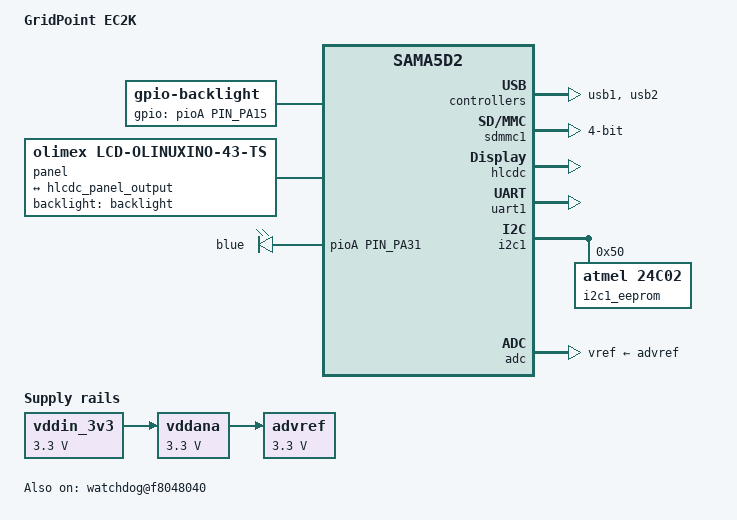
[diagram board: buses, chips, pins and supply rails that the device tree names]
/*
 * gridpoint-ec2k.dts - Device Tree file for EC2000 board
 * based on at91-sama5d27_som1_ek_common.dtsi
 */
/dts-v1/;

#include <dt-bindings/gpio/gpio.h>
#include "sama5d27_som1.dtsi"
/*
#include <dt-bindings/mfd/atmel-flexcom.h>
#include <dt-bindings/pinctrl/at91.h>
#include <dt-bindings/dma/at91.h>
*/

/ {
	model = "GridPoint EC2K";
	compatible = "atmel,sama5d27-som1-ek", "atmel,sama5d27-som1", "atmel,sama5d27", "atmel,sama5d2", "atmel,sama5";

	aliases {
		serial0 = &uart1;
		i2c0	= &i2c1;
	};

	chosen {
		u-boot,dm-pre-reloc;
		/* stdout-path = "serial0:115200n8"; */
		stdout-path = &uart1;
	};

	ahb {

		compatible = "simple-bus";
		#address-cells = <1>;
		#size-cells = <1>;
		ranges;

		nfc_sram: sram@100000 {
			compatible = "mmio-sram";
			no-memory-wc;
			reg = <0x00100000 0x2400>;
			#address-cells = <1>;
			#size-cells = <1>;
			ranges = <0 0x00100000 0x2400>;

		};

		nfc_io: nfc-io@c0000000 {
			compatible = "atmel,sama5d3-nfc-io", "syscon";
			reg = <0xc0000000 0x8000000>;
		};

		usb1: ohci@400000 {
			num-ports = <3>;
			atmel,vbus-gpio = <&pioA 42 0>;
			pinctrl-names = "default";
			pinctrl-0 = <&pinctrl_usb_default>;
			status = "okay";
		};

		usb2: ehci@500000 {
			status = "okay";
		};

		sdmmc0: sdio-host@a0000000 {
			status = "disabled";
		};

		sdmmc1: sdio-host@b0000000 {
			bus-width = <4>;
			pinctrl-names = "default";
			pinctrl-0 = <&pinctrl_sdmmc1_default>;
			status = "okay";
			u-boot,dm-pre-reloc;
		};

		hsmc: hsmc@f8014000 {
			compatible = "atmel,sama5d2-smc", "syscon", "simple-mfd";
			reg = <0xf8014000 0x1000>;
			interrupts = <17 IRQ_TYPE_LEVEL_HIGH 6>;
			clocks = <&pmc PMC_TYPE_PERIPHERAL 17>;
			#address-cells = <1>;
			#size-cells = <1>;
			ranges;
			u-boot,dm-pre-reloc;

			pmecc: ecc-engine@f8014070 {
				compatible = "atmel,sama5d2-pmecc";
				reg = <0xf8014070 0x490>,
				      <0xf8014500 0x200>;
			};
		};

		ebi: ebi@10000000 {
			compatible = "atmel,sama5d3-ebi";
			#address-cells = <2>;
			#size-cells = <1>;
			atmel,smc = <&hsmc>;
			pinctrl-names = "default";
			pinctrl-0 = <&pinctrl_nand_default>;
			reg = <0x10000000 0x10000000
			       0x60000000 0x30000000>;
			ranges = <0x0 0x0 0x10000000 0x10000000
				  0x1 0x0 0x60000000 0x10000000
				  0x2 0x0 0x70000000 0x10000000
				  0x3 0x0 0x80000000 0x10000000>;
			clocks = <&pmc PMC_TYPE_CORE ID_MAIN_RC_OSC>;
			status = "disable"; /* conflicts with sdmmc1 and qspi0 */
			u-boot,dm-pre-reloc;

			nand_controller: nand-controller {
				compatible = "atmel,sama5d3-nand-controller";
				atmel,nfc-sram = <&nfc_sram>;
				atmel,nfc-io = <&nfc_io>;
				ecc-engine = <&pmecc>;
				#address-cells = <2>;
				#size-cells = <1>;
				ranges;
				status = "disable";

				nand@3 {
					reg = <0x3 0x0 0x2>;
					atmel,rb = <0>;
					nand-bus-width = <8>;
					nand-ecc-mode = "hw";
					nand-on-flash-bbt;
					label = "atmel_nand";
/*					u-boot,dm-pre-reloc; */

					partitions {
						compatible = "fixed-partitions";
						#address-cells = <1>;
						#size-cells = <1>;

						rootfs@0 {
							label = "NAND";
							reg = <0x0 0x8000000>;
						};
					};
				};
			};
		};

		apb {
			hlcdc: hlcdc@f0000000 {
				status = "okay";

				hlcdc-display-controller {
					pinctrl-names = "default";
					pinctrl-0 = <&pinctrl_lcd_base &pinctrl_lcd_rgb>;

					port {
						hlcdc_panel_output: endpoint@0 {
							remote-endpoint = <&panel_input>;
						};
					};
				};

				hlcdc_pwm: hlcdc-pwm {
					pinctrl-names = "default";
					pinctrl-0 = <&pinctrl_lcd_pwm>;
				};
			};

			pmc: pmc@f0014000 {
				pmc_fast_restart {
					compatible = "atmel,sama5d2-pmc-fast-startup";
					#address-cells = <1>;
					#size-cells = <0>;

					atmel,wakeup-rtc-timer;

					wkpin: input@0 {
						reg = <0>;
					};

					gmac_wol: input@10 {
						reg = <10>;
						atmel,wakeup-active-high;
					};
				};
			};

			uart1: serial@f8020000 {
				pinctrl-names = "default";
				pinctrl-0 = <&pinctrl_uart1_default>;
				status = "okay";
				u-boot,dm-pre-reloc;
			};

			pwm0: pwm@f802c000 {
				pinctrl-names = "default";
				pinctrl-0 = <&pinctrl_mikrobus1_pwm &pinctrl_mikrobus2_pwm>;
				status = "disabled"; /* Conflict with leds. */
			};

			shdwc@f8048010 {
				atmel,shdwc-debouncer = <976>;
				atmel,wakeup-rtc-timer;

				input@0 {
					reg = <0>;
					atmel,wakeup-type = "low";
				};
			};

			watchdog@f8048040 {
				compatible = "atmel,at91sam9260-wdt";
				status = "okay";
			};

			i2c0: i2c@f8028000 {
				status = "disable";
			};

			i2c1: i2c@fc028000 {
				status = "okay";

				i2c1_eeprom: i2c1_eeprom@50 {
					compatible = "atmel,24c02";
					reg = <0x50>;
				};
			};

			pinctrl@fc038000 {

				pinctrl_qspi1_default: qspi1_default {
					data {
						bias-disabled;
					};
				};

				pinctrl_lcd_base: pinctrl_lcd_base {
					pinmux = <PIN_PC5__LCDVSYNC>,
						<PIN_PC6__LCDHSYNC>,
						<PIN_PC8__LCDDEN>,
						<PIN_PC7__LCDPCK>;
					bias-disable;
				};

				pinctrl_lcd_rgb: pinctrl_lcd_rgb {
					pinmux = <PIN_PB11__LCDDAT0>,
						<PIN_PB12__LCDDAT1>,
						<PIN_PB13__LCDDAT2>,
						<PIN_PB14__LCDDAT3>,
						<PIN_PB15__LCDDAT4>,
						<PIN_PB16__LCDDAT5>,
						<PIN_PB17__LCDDAT6>,
						<PIN_PB18__LCDDAT7>,
						<PIN_PB19__LCDDAT8>,
						<PIN_PB20__LCDDAT9>,
						<PIN_PB21__LCDDAT10>,
						<PIN_PB22__LCDDAT11>,
						<PIN_PB23__LCDDAT12>,
						<PIN_PB24__LCDDAT13>,
						<PIN_PB25__LCDDAT14>,
						<PIN_PB26__LCDDAT15>,
						<PIN_PB27__LCDDAT16>,
						<PIN_PB28__LCDDAT17>,
						<PIN_PB29__LCDDAT18>,
						<PIN_PB30__LCDDAT19>,
						<PIN_PB31__LCDDAT20>,
						<PIN_PC0__LCDDAT21>,
						<PIN_PC1__LCDDAT22>,
						<PIN_PC2__LCDDAT23>;
					bias-disable;
				};

				pinctrl_nand_default: nand_default {
					re_we_data {
						pinmux = <PIN_PA0__D0>,
							<PIN_PA1__D1>,
							<PIN_PA2__D2>,
							<PIN_PA3__D3>,
							<PIN_PA4__D4>,
							<PIN_PA5__D5>,
							<PIN_PA6__D6>,
							<PIN_PA7__D7>,
							<PIN_PA8__NWE_NANDWE>,
							<PIN_PA12__NRD_NANDOE>;
							bias-pull-up;
					};

					ale_cle_rdy_cs {
						pinmux = <PIN_PA10__A21_NANDALE>,
							<PIN_PA11__A22_NANDCLE>,
							<PIN_PD8__NANDRDY>,
							<PIN_PA9__NCS3>;
							bias-pull-up;
					};
				};

				pinctrl_lcd_pwm: pinctrl_lcd_pwm {
					pinmux = <PIN_PC3__LCDPWM>;
					bias-disable;
				};

				pinctrl_flx3_default: flx3_default {
					pinmux = <PIN_PC20__FLEXCOM3_IO0>,
						 <PIN_PC19__FLEXCOM3_IO1>,
						 <PIN_PC18__FLEXCOM3_IO2>,
						 <PIN_PC21__FLEXCOM3_IO3>,
						 <PIN_PC22__FLEXCOM3_IO4>;
					bias-disable;
				};

				pinctrl_i2c1_default: i2c1_default {
					pinmux = <PIN_PD4__TWD1>,
						 <PIN_PD5__TWCK1>;
					bias-disable;
				};

				pinctrl_led_gpio_default: led_gpio_default {
					pinmux = <PIN_PA31__GPIO>;
					bias-pull-up;
				};

				pinctrl_backlight_gpio_default: backlight_gpio_default {
					pinmux = <PIN_PA15__GPIO>;
					bias-disable;
					output-high;
				};

				pinctrl_sdmmc1_default: sdmmc1_default {
					cmd_data {
						pinmux = <PIN_PA28__SDMMC1_CMD>,
							 <PIN_PA18__SDMMC1_DAT0>,
							 <PIN_PA19__SDMMC1_DAT1>,
							 <PIN_PA20__SDMMC1_DAT2>,
							 <PIN_PA21__SDMMC1_DAT3>;
						bias-disable;
					};

					conf-ck_cd {
						pinmux = <PIN_PA22__SDMMC1_CK>,
							 <PIN_PA30__SDMMC1_CD>;
						bias-disable;
					};
				};

				pinctrl_usb_default: usb_default {
					pinmux = <PIN_PA27__GPIO>,
						 <PIN_PD19__GPIO>;
					bias-disable;
				};

				pinctrl_usba_vbus: usba_vbus {
					pinmux = <PIN_PD20__GPIO>;
					bias-disable;
				};

				pinctrl_uart1_default: uart1_default {
					pinmux = <PIN_PD2__URXD1>,
						<PIN_PD3__UTXD1>;
						bias-disable;
						u-boot,dm-pre-reloc;
				};

				pinctrl_mikrobus1_an: mikrobus1_an {
					pinmux = <PIN_PD25__GPIO>;
					bias-disable;
				};

				pinctrl_mikrobus2_an: mikrobus2_an {
					pinmux = <PIN_PD26__GPIO>;
					bias-disable;
				};

				pinctrl_mikrobus1_rst: mikrobus1_rst {
					pinmux = <PIN_PB2__GPIO>;
					bias-disable;
				};

				pinctrl_mikrobus2_rst: mikrobus2_rst {
					pinmux = <PIN_PA26__GPIO>;
					bias-disable;
				};

				pinctrl_mikrobus1_spi_cs: mikrobus1_spi_cs {
					pinmux = <PIN_PD0__FLEXCOM4_IO4>;
					bias-disable;
				};

				pinctrl_mikrobus2_spi_cs: mikrobus2_spi_cs {
					pinmux = <PIN_PC31__FLEXCOM4_IO3>;
					bias-disable;
				};

				pinctrl_mikrobus_spi: mikrobus_spi {
					pinmux = <PIN_PC28__FLEXCOM4_IO0>,
						 <PIN_PC29__FLEXCOM4_IO1>,
						 <PIN_PC30__FLEXCOM4_IO2>;
					bias-disable;
				};

				pinctrl_mikrobus1_pwm: mikrobus1_pwm {
					pinmux = <PIN_PB1__PWML1>;
					bias-disable;
				};

				pinctrl_mikrobus2_pwm: mikrobus2_pwm {
					pinmux = <PIN_PA31__PWML0>;
					bias-disable;
				};

				pinctrl_mikrobus1_int: mikrobus1_int {
					pinmux = <PIN_PB0__GPIO>;
					bias-disable;
				};

				pinctrl_mikrobus1_uart: mikrobus1_uart {
					pinmux = <PIN_PB3__URXD4>,
						 <PIN_PB4__UTXD4>;
					bias-disable;
				};

				pinctrl_mikrobus2_uart: mikrobus2_uart {
					pinmux = <PIN_PD23__URXD2>,
						 <PIN_PD24__UTXD2>;
					bias-disable;
				};

				pinctrl_flx4_default: flx4_uart_default {
					pinmux = <PIN_PC28__FLEXCOM4_IO0>,
						 <PIN_PC29__FLEXCOM4_IO1>,
						 <PIN_PC30__FLEXCOM4_IO2>,
						 <PIN_PC31__FLEXCOM4_IO3>,
						 <PIN_PD0__FLEXCOM4_IO4>;
					bias-disable;
				};

				pinctrl_flx2_default: flx2_uart_default {
					pinmux = <PIN_PD26__FLEXCOM2_IO0>,
						 <PIN_PD27__FLEXCOM2_IO1>,
						 <PIN_PD28__FLEXCOM2_IO2>,
						 <PIN_PD29__FLEXCOM2_IO3>,
						 <PIN_PD30__FLEXCOM2_IO4>;
					bias-disable;
				};
			};

			adc: adc@fc030000 {
				vddana-supply = <&vddana>;
				vref-supply = <&advref>;
				status = "okay";
			};
			resistive_touch: resistive-touch {
				status = "okay";
			};

		};
	};

	vddin_3v3: fixed-regulator-vddin_3v3 {
		compatible = "regulator-fixed";

		regulator-name = "VDDIN_3V3";
		regulator-min-microvolt = <3300000>;
		regulator-max-microvolt = <3300000>;
		regulator-always-on;
		regulator-boot-on;
		status = "okay";
	};

	vddana: fixed-regulator-vddana {
		compatible = "regulator-fixed";

		regulator-name = "VDDANA";
		regulator-min-microvolt = <3300000>;
		regulator-max-microvolt = <3300000>;
		regulator-always-on;
		regulator-boot-on;
		vin-supply = <&vddin_3v3>;
		status = "okay";
	};

	advref: fixed-regulator-advref {
		compatible = "regulator-fixed";

		regulator-name = "advref";
		regulator-min-microvolt = <3300000>;
		regulator-max-microvolt = <3300000>;
		regulator-always-on;
		regulator-boot-on;
		vin-supply = <&vddana>;
		status = "okay";
	};

	backlight: backlight {
		compatible = "gpio-backlight";
		pinctrl-names = "default";
		pinctrl-0 = <&pinctrl_backlight_gpio_default>;
		gpios = <&pioA PIN_PA15 GPIO_ACTIVE_HIGH>;

		default-on;
		status = "okay";
	};

	panel: panel {
		compatible = "olimex,lcd-olinuxino-43-ts", "simple-panel";

		backlight = <&backlight>;
		status = "okay";

		port {
			panel_input: endpoint@0 {
				remote-endpoint = <&hlcdc_panel_output>;
			};
		};
	};

	leds {
		compatible = "gpio-leds";
		pinctrl-names = "default";
		pinctrl-0 = <&pinctrl_led_gpio_default>;
		status = "okay"; /* Conflict with pwm0. */

		blue {
			label = "blue";
			gpios = <&pioA PIN_PA31 GPIO_ACTIVE_HIGH>;
			linux,default-trigger = "heartbeat";
		};
	};
};
